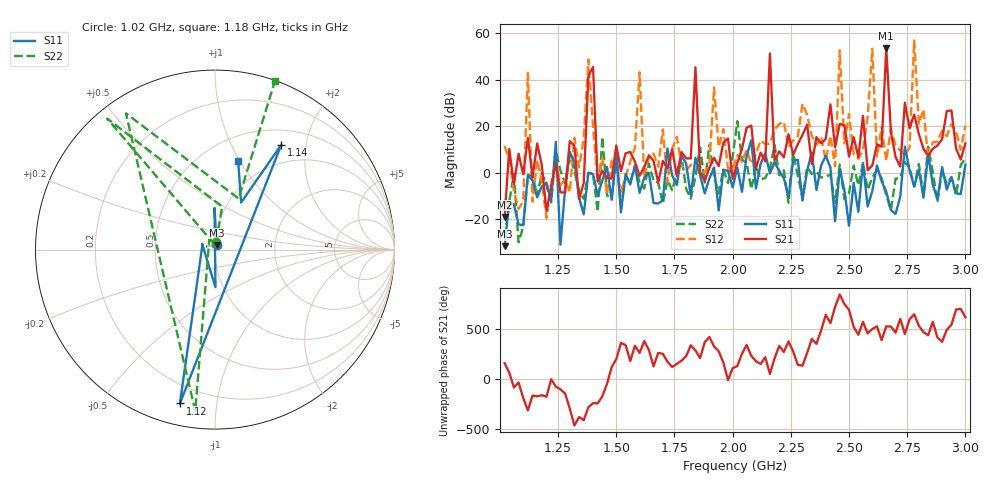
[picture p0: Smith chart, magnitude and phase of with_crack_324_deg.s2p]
# MHz S MA R 50
!  freq  S11  S21  S12  S22
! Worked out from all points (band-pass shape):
!   100 points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, 1.02 GHz to 3 GHz, reference 50 ohm
!   highest |S21| = 53.61 dB at 2.66 GHz (marker M1); lowest = -19.0 dB at 1.02 GHz (marker M2)
!   |S21| within 3 dB of the highest: 2.159708 GHz to 2.160295 GHz (586.7 kHz wide, 0.0272 % of centre); 2.658584 GHz to 2.661658 GHz (3.074 MHz wide, 0.116 % of centre)
!   lowest |S11| = -31.5 dB at 1.02 GHz (marker M3), VSWR 1.05, Z = 50.8 + j2.55 ohm
!   |S11| at or under -10 dB: start of sweep to 1.112 GHz; 1.655 GHz to 1.702 GHz (46.19 MHz wide, 2.75 % of centre); 2.665 GHz to 2.72 GHz (55.35 MHz wide, 2.06 % of centre) (the widest 3 of 18)
!   |S22| runs from -29.8 to 22.2 dB; largest |S21 - S12| = 7e+02
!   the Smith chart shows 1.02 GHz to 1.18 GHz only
!   S11 on the Smith chart (normalised r, x): 1.02 GHz: 1.02, +0.05; 1.12 GHz: 0.11, -0.79; 1.14 GHz: 0.71, +1.58; 1.18 GHz: 0.74, +0.98
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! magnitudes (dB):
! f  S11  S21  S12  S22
! 1.02 GHz  -31.5  -19.0  11.5  -27.7
! 1.1 GHz  -22.6  -0.6  -12.1  -23.2
! 1.12 GHz  -1.1  15.0  42.9  -0.9
! 1.14 GHz  -3.2  -1.9  -12.4  -0.8
! 1.18 GHz  -5.9  3.2  -3.8  0.0
! 1.36 GHz  -17.8  -4.3  14.8  -11.1
! 1.4 GHz  -0.5  45.4  19.8  -0.3
! 1.42 GHz  -9.8  -3.4  -4.0  -16.7
! 1.6 GHz  -8.6  -1.3  43.2  -4.1
! 1.68 GHz  -13.2  -4.2  2.7  -4.3
! 1.84 GHz  6.5  45.3  4.6  -1.6
! 1.86 GHz  -1.1  0.4  2.6  11.0
! 2.02 GHz  2.2  4.4  7.6  22.2
! 2.14 GHz  8.4  4.9  12.4  -2.2
! 2.16 GHz  -0.2  51.3  12.5  1.7
! 2.18 GHz  4.7  5.4  18.5  12.0
! 2.34 GHz  8.9  3.8  15.8  -0.5
! 2.54 GHz  -16.7  6.7  6.1  -5.3
! 2.6 GHz  -7.8  3.2  53.3  -2.0
! 2.66 GHz  -8.1  53.6  5.2  -9.7
! 2.68 GHz  -15.9  17.4  18.9  -15.9
! 3 GHz  3.5  12.6  20.4  6.4
